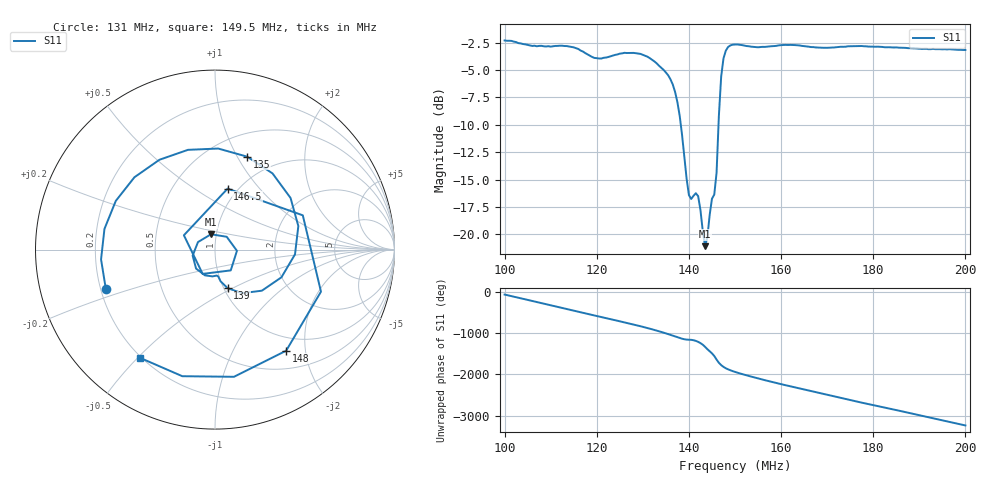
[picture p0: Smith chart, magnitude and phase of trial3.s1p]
#  HZ  S  RI  R  50.00
! Rohde & Schwarz ZVA40 2Ports - Version 3.12 - 1145.1110k40 SN: 100360
! Date: 2019-07-29 15:26:45
! Measurement: S11
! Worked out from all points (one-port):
!   201 points, 100 MHz to 200 MHz, reference 50 ohm
!   lowest |S11| = -21.1 dB at 143.5 MHz (marker M1), VSWR 1.19, Z = 47.1 + j8.11 ohm
!   |S11| at or under -10 dB: 138.2 MHz to 146.4 MHz (8.183 MHz wide, 5.75 % of centre)
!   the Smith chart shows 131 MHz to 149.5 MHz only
!   S11 on the Smith chart (normalised r, x): 131 MHz: 0.22, -0.17; 135 MHz: 0.74, +1.10; 139 MHz: 1.04, -0.47; 146.5 MHz: 0.90, +0.69; 148 MHz: 0.77, -1.65; 149.5 MHz: 0.19, -0.51
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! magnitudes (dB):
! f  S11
! 100 MHz  -2.3
! 112.5 MHz  -2.8
! 119.5 MHz  -3.9
! 125 MHz  -3.5
! 131 MHz  -3.8
! 135 MHz  -5.2
! 136.5 MHz  -6.3
! 137.5 MHz  -7.9
! 138 MHz  -9.2
! 139 MHz  -12.9
! 140 MHz  -16.4
! 140.5 MHz  -16.8
! 142 MHz  -16.5
! 143.5 MHz  -21.1
! 144 MHz  -20.3
! 145 MHz  -16.8
! 145.5 MHz  -16.4
! 146 MHz  -14.4
! 146.5 MHz  -9.2
! 147 MHz  -5.6
! 147.5 MHz  -3.9
! 148 MHz  -3.2
! 149.5 MHz  -2.7
! 150 MHz  -2.7
! 162.5 MHz  -2.7
! 175 MHz  -2.8
! 187.5 MHz  -3.0
! 200 MHz  -3.2
